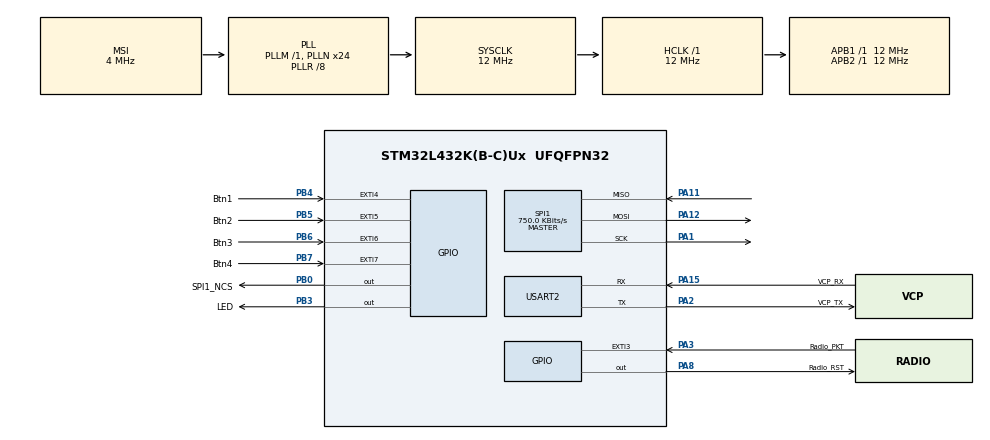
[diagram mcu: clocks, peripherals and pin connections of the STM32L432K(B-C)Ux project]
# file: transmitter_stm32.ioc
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ADC1.Channel-0\#ChannelRegularConversion=ADC_CHANNEL_VREFINT
ADC1.NbrOfConversionFlag=1
ADC1.OffsetNumber-0\#ChannelRegularConversion=ADC_OFFSET_NONE
ADC1.Rank-0\#ChannelRegularConversion=1
ADC1.SamplingTime-0\#ChannelRegularConversion=ADC_SAMPLETIME_640CYCLES_5
ADC1.master=1
CRC.InputDataInversionMode=CRC_INPUTDATA_INVERSION_BYTE
CRC.OutputDataInversionMode=CRC_OUTPUTDATA_INVERSION_ENABLE
Dma.Request0=SPI1_TX
Dma.Request1=SPI1_RX
Dma.SPI1_RX.1.Direction=DMA_PERIPH_TO_MEMORY
Dma.SPI1_RX.1.Instance=DMA1_Channel2
Dma.SPI1_RX.1.MemDataAlignment=DMA_MDATAALIGN_BYTE
Dma.SPI1_RX.1.MemInc=DMA_MINC_ENABLE
Dma.SPI1_RX.1.Mode=DMA_NORMAL
Dma.SPI1_RX.1.PeriphDataAlignment=DMA_PDATAALIGN_BYTE
Dma.SPI1_RX.1.PeriphInc=DMA_PINC_DISABLE
Dma.SPI1_RX.1.Priority=DMA_PRIORITY_LOW
Dma.SPI1_TX.0.Direction=DMA_MEMORY_TO_PERIPH
Dma.SPI1_TX.0.Instance=DMA1_Channel3
Dma.SPI1_TX.0.MemDataAlignment=DMA_MDATAALIGN_BYTE
Dma.SPI1_TX.0.MemInc=DMA_MINC_ENABLE
Dma.SPI1_TX.0.Mode=DMA_NORMAL
Dma.SPI1_TX.0.PeriphDataAlignment=DMA_PDATAALIGN_BYTE
Dma.SPI1_TX.0.PeriphInc=DMA_PINC_DISABLE
Dma.SPI1_TX.0.Priority=DMA_PRIORITY_LOW
Mcu.Family=STM32L4
Mcu.Name=STM32L432K(B-C)Ux
Mcu.Package=UFQFPN32
NVIC.ADC1_IRQn=true\:0\:0\:false\:false\:true\:true\:true
NVIC.DMA1_Channel2_IRQn=true\:0\:0\:false\:false\:true\:false\:true
NVIC.DMA1_Channel3_IRQn=true\:0\:0\:false\:false\:true\:false\:true
NVIC.EXTI3_IRQn=true\:0\:0\:false\:false\:true\:true\:true
NVIC.EXTI4_IRQn=true\:0\:0\:false\:false\:true\:true\:true
NVIC.EXTI9_5_IRQn=true\:0\:0\:false\:false\:true\:true\:true
NVIC.LPTIM1_IRQn=true\:0\:0\:false\:false\:true\:true\:true
NVIC.PriorityGroup=NVIC_PRIORITYGROUP_4
NVIC.SPI1_IRQn=true\:0\:0\:false\:false\:true\:true\:true
NVIC.USART2_IRQn=true\:0\:0\:false\:false\:true\:true\:true
PA0.Mode=SYS_WakeUp0
PA0.Signal=SYS_WKUP1
PA1.Mode=Full_Duplex_Master
PA1.Signal=SPI1_SCK
PA11.Mode=Full_Duplex_Master
PA11.Signal=SPI1_MISO
PA12.Mode=Full_Duplex_Master
PA12.Signal=SPI1_MOSI
PA13\ (JTMS-SWDIO).GPIO_Label=SWDIO
PA13\ (JTMS-SWDIO).Mode=Serial_Wire
PA13\ (JTMS-SWDIO).Signal=SYS_JTMS-SWDIO
PA14\ (JTCK-SWCLK).GPIO_Label=SWCLK
PA14\ (JTCK-SWCLK).Mode=Serial_Wire
PA14\ (JTCK-SWCLK).Signal=SYS_JTCK-SWCLK
PA15\ (JTDI).GPIO_Label=VCP_RX
PA15\ (JTDI).Mode=Asynchronous
PA15\ (JTDI).Signal=USART2_RX
PA2.GPIO_Label=VCP_TX
PA2.Mode=Asynchronous
PA2.Signal=USART2_TX
PA3.GPIO_Label=Radio_PKT
PA3.GPIO_ModeDefaultEXTI=GPIO_MODE_IT_RISING_FALLING
PA3.Signal=GPXTI3
PA8.GPIO_Label=Radio_RST
PA8.GPIO_ModeDefaultOutputPP=GPIO_MODE_OUTPUT_OD
PA8.GPIO_PuPd=GPIO_PULLUP
PA8.GPIO_Speed=GPIO_SPEED_FREQ_LOW
PA8.PinState=GPIO_PIN_RESET
PA8.Signal=GPIO_Output
PB0.GPIO_Label=SPI1_NCS
PB0.GPIO_PuPd=GPIO_PULLUP
PB0.GPIO_Speed=GPIO_SPEED_FREQ_VERY_HIGH
PB0.PinState=GPIO_PIN_SET
PB0.Signal=GPIO_Output
PB3\ (JTDO-TRACESWO).GPIO_Label=LED
PB3\ (JTDO-TRACESWO).Signal=SharedStack_PB3
PB3\ (JTDO-TRACESWO).Stacked=true
PB4\ (NJTRST).GPIO_Label=Btn1
PB4\ (NJTRST).GPIO_ModeDefaultEXTI=GPIO_MODE_IT_RISING_FALLING
PB4\ (NJTRST).GPIO_PuPd=GPIO_PULLDOWN
PB4\ (NJTRST).Signal=GPXTI4
PB5.GPIO_Label=Btn2
PB5.GPIO_ModeDefaultEXTI=GPIO_MODE_IT_RISING_FALLING
PB5.GPIO_PuPd=GPIO_PULLDOWN
PB5.Signal=GPXTI5
PB6.GPIO_Label=Btn3
PB6.GPIO_ModeDefaultEXTI=GPIO_MODE_IT_RISING_FALLING
PB6.GPIO_PuPd=GPIO_PULLDOWN
PB6.Signal=GPXTI6
PB7.GPIO_Label=Btn4
PB7.GPIO_ModeDefaultEXTI=GPIO_MODE_IT_RISING_FALLING
PB7.GPIO_PuPd=GPIO_PULLDOWN
PB7.Signal=GPXTI7
PC14-OSC32_IN\ (PC14).Mode=LSE-External-Oscillator
PC14-OSC32_IN\ (PC14).Signal=RCC_OSC32_IN
PC15-OSC32_OUT\ (PC15).Mode=LSE-External-Oscillator
PC15-OSC32_OUT\ (PC15).Signal=RCC_OSC32_OUT
ProjectManager.HeapSize=0x200
ProjectManager.StackSize=0x400
ProjectManager.TargetToolchain=STM32CubeIDE
RCC.ADCFreq_Value=12000000
RCC.AHBFreq_Value=12000000
RCC.APB1Freq_Value=12000000
RCC.APB1TimFreq_Value=12000000
RCC.APB2Freq_Value=12000000
RCC.APB2TimFreq_Value=12000000
RCC.CortexFreq_Value=12000000
RCC.HCLKFreq_Value=12000000
RCC.HSE_VALUE=8000000
RCC.HSI16_VALUE=16000000
RCC.HSI48_VALUE=48000000
RCC.HSI_VALUE=16000000
RCC.LSE_Drive_Capability=RCC_LSEDRIVE_MEDIUMHIGH
RCC.MSI_VALUE=4000000
RCC.PLLMUL=RCC_PLLMUL_4
RCC.PLLN=24
RCC.PLLQ=RCC_PLLQ_DIV8
RCC.PLLR=RCC_PLLR_DIV8
RCC.PLLSAI1N=24
RCC.PLLSAI1Q=RCC_PLLQ_DIV8
RCC.PLLSAI1R=RCC_PLLR_DIV8
RCC.PWR_Regulator_Voltage_Scale=PWR_REGULATOR_VOLTAGE_SCALE2
RCC.RTCClockSelection=RCC_RTCCLKSOURCE_LSE
RCC.SYSCLKFreq_VALUE=12000000
RCC.SYSCLKSource=RCC_SYSCLKSOURCE_PLLCLK
RCC.USBFreq_Value=12000000
RCC.VCOOutputFreq_Value=96000000
RCC.VDD_VALUE=2.8
RTC.Date=2
RTC.Format=RTC_FORMAT_BIN
RTC.WakeUpClock=RTC_WAKEUPCLOCK_CK_SPRE_16BITS
RTC.Year=1
SH.SharedStack_PB3.0=GPIO_Output
SH.SharedStack_PB3.1=TIM2_CH2
SPI1.BaudRatePrescaler=SPI_BAUDRATEPRESCALER_16
SPI1.CLKPhase=SPI_PHASE_2EDGE
SPI1.CalculateBaudRate=750.0 KBits/s
SPI1.DataSize=SPI_DATASIZE_8BIT
SPI1.Direction=SPI_DIRECTION_2LINES
SPI1.Mode=SPI_MODE_MASTER
SPI1.VirtualType=VM_MASTER
SYS.PVDLevel=PWR_PVDLEVEL_0
USART2.VirtualMode-Asynchronous=VM_ASYNC
VP_ADC1_Vref_Input.Mode=IN-Vrefint
VP_CRC_VS_CRC.Mode=CRC_Activate
VP_LPTIM1_VS_LPTIM_counterModeInternalClock.Mode=Counts__internal_clock_event_00
VP_RCC_LSE.Mode=CRS SYNC Source LSE
VP_RNG_VS_RNG.Mode=RNG_Activate
VP_RTC_VS_RTC_Activate.Mode=RTC_Enabled
VP_RTC_VS_RTC_Calendar.Mode=RTC_Calendar
VP_RTC_VS_RTC_WakeUp_intern.Mode=WakeUp
VP_SYS_V_PVD_IN.Mode=Mode_PVD_Int
board=NUCLEO-L432KC

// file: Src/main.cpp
/* USER CODE BEGIN Header */
/**
  ******************************************************************************
  * @file           : main.c
  * @brief          : Main program body
  ******************************************************************************
  * @attention
  *
  * <h2><center>&copy; Copyright (c) 2019 STMicroelectronics.
  * All rights reserved.</center></h2>
  *
  * This software component is licensed by ST under BSD 3-Clause license,
  * the "License"; You may not use this file except in compliance with the
  * License. You may obtain a copy of the License at:
  *                        opensource.org/licenses/BSD-3-Clause
  *
  ******************************************************************************
  */
/* USER CODE END Header */

#include "main.h"

/* USER CODE BEGIN Includes */
#include "cetaguard.h"
#include "lt8920.h"
#include <string.h>
#include <time.h>
/* USER CODE END Includes */

/* USER CODE BEGIN PTD */
struct status_flags{
	uint32_t btn_intr :1;
	uint32_t spi_intr :1;
	uint32_t got_packet :1;
	uint32_t expecting_rx :1;
	uint32_t waiting_tx :1;
	uint32_t pairing_mode :1;
	uint32_t cold_boot :1;
};
/* USER CODE END PTD */

ADC_HandleTypeDef hadc1;

CRC_HandleTypeDef hcrc;

LPTIM_HandleTypeDef hlptim1;

RNG_HandleTypeDef hrng;

RTC_HandleTypeDef hrtc;

SPI_HandleTypeDef hspi1;
DMA_HandleTypeDef hdma_spi1_tx;
DMA_HandleTypeDef hdma_spi1_rx;

UART_HandleTypeDef huart2;

/* USER CODE BEGIN PV */
volatile struct status_flags status = {0};
uint8_t message_buffer[64] = {0x01, 0x02, 0x03, 0x99, 0x04, 0x03, 0x02, 0x01};
uint8_t recv_buffer[64];
uint8_t last_received;
volatile uint32_t last_error;
volatile uint32_t total_errors;
Cetaguard_transmitter tx;
LT8920 radio(&hspi1);
volatile uint32_t debug_data[64];
volatile uint32_t debug_data_ctr;
/* USER CODE END PV */

void SystemClock_Config(void);
static void MX_GPIO_Init(void);
static void MX_DMA_Init(void);
static void MX_ADC1_Init(void);
static void MX_CRC_Init(void);
static void MX_LPTIM1_Init(void);
static void MX_RNG_Init(void);
static void MX_RTC_Init(void);
static void MX_USART2_UART_Init(void);
static void MX_SPI1_Init(void);
/* USER CODE BEGIN PFP */
void HAL_GPIO_EXTI_Callback(uint16_t GPIO_Pin);
uint8_t measure_battery_voltage();
void set_RTC_timestamp(uint32_t now);
/* USER CODE END PFP */

/* USER CODE BEGIN 0 */
void print_to_serial(const char* stuff){
	HAL_UART_Transmit(&huart2, (uint8_t*)stuff, strlen(stuff), 10);
}

#define SERIAL_PRINTF(...) do { char buffer[128]; snprintf(buffer, 128, __VA_ARGS__); print_to_serial(buffer); } while (0)

class My_interpreter2: public Cetaguard_message_interpreter{
  void button_msg(Cetaguard_msg_contents contents, Cetaguard_index idx){
  }
  void pairing_without_secret_msg(Cetaguard_index idx){
  }
  void pairing_with_secret_msg(Cetaguard_index idx){
  }
};

My_interpreter2 interpreter2;

void benchmark(){
  Cetaguard_status ret;

  Cetaguard_transmitter txTest;
  uint32_t cycles_start, cycles;
  cycles_start = DWT->CYCCNT;
  Cetaguard_receiver rxTest(&interpreter2);
  cycles = DWT->CYCCNT - cycles_start;
  SERIAL_PRINTF("Creating rx: %lu\n", cycles);

  cycles_start = DWT->CYCCNT;
  uint32_t id_out;
  ret = rxTest.add_pending_transmitter(&id_out);
  cycles = DWT->CYCCNT - cycles_start;
  SERIAL_PRINTF("adding pending tx: %lu\n", cycles);
  SERIAL_PRINTF("\t keygen: %lu\n", debug_data[1] - debug_data[0]);
  SERIAL_PRINTF("\t random: %lu\n", debug_data[2] - debug_data[1]);
  SERIAL_PRINTF("\t hash: %lu\n", debug_data[3] - debug_data[2]);
  if (ret != CETAGUARD_OK){
    return;
  }

  cycles_start = DWT->CYCCNT;
  ret = txTest.add_receiver(rxTest.pending[0].pub_key, rxTest.pending[0].pairing_secret);
  if (ret != CETAGUARD_OK){
    return;
  }

  cycles = DWT->CYCCNT - cycles_start;
  SERIAL_PRINTF("Adding rx: %lu\n", cycles);

  uint8_t msg[64];
  size_t size;

  cycles_start = DWT->CYCCNT;
  ret = txTest.prepare_pairing_msg(0, msg, &size);
  cycles = DWT->CYCCNT - cycles_start;
  SERIAL_PRINTF("Prepairing pairing msg: %lu\n", cycles);
  if (ret != CETAGUARD_OK){
    return;
  }

  cycles_start = DWT->CYCCNT;
  ret = rxTest.interpret_message(msg, size);
  cycles = DWT->CYCCNT - cycles_start;
  SERIAL_PRINTF("Interpreting pairing msg: %lu\n", cycles);
  if (ret != CETAGUARD_OK){
    return;
  }

  cycles_start = DWT->CYCCNT;
  ret = txTest.finish_pairing(0);
  cycles = DWT->CYCCNT - cycles_start;
  SERIAL_PRINTF("Finish pairing: %lu\n", cycles);
  if (ret != CETAGUARD_OK){
    return;
  }

  Cetaguard_msg_contents c_in;
  cycles_start = DWT->CYCCNT;
  ret = txTest.prepare_button_msg(0, &c_in, msg, &size);
  cycles = DWT->CYCCNT - cycles_start;
  SERIAL_PRINTF("Preparing button msg: %lu\n", cycles);
  SERIAL_PRINTF("\t prepare: %lu\n", debug_data[1] - debug_data[0]);
  SERIAL_PRINTF("\t hash: %lu\n", debug_data[2] - debug_data[1]);
  SERIAL_PRINTF("\t encrypt: %lu\n", debug_data[3] - debug_data[2]);
  if (ret != CETAGUARD_OK){
    return;
  }

  cycles_start = DWT->CYCCNT;
  ret = rxTest.interpret_message(msg, size);
  cycles = DWT->CYCCNT - cycles_start;
  SERIAL_PRINTF("Interpreting button msg: %lu\n", cycles);
  SERIAL_PRINTF("\t decrypt: %lu\n", debug_data[1] - debug_data[0]);
  if (ret != CETAGUARD_OK){
    return;
  }

}

void stress_test_calc(){
	uint8_t pub1[PUB_KEY_SIZE], pub2[PUB_KEY_SIZE], priv1[PRIV_KEY_SIZE], priv2[PRIV_KEY_SIZE], secret[SECRET_SIZE];
	generate_keys(pub1, priv1);
	generate_keys(pub2, priv2);
	calculate_secret(pub1, priv2, secret);
	hash(priv1, PRIV_KEY_SIZE, recv_buffer);
	for (int i = 0; i < 6; i++){
		encrypt(recv_buffer, recv_buffer, secret);
	}
	for (int i = 0; i < 6; i++){
		decrypt(priv1, priv1, secret);
	}
}

void HAL_GPIO_EXTI_Callback(uint16_t pin){
	if (pin & (Btn1_Pin | Btn2_Pin | Btn3_Pin | Btn4_Pin)){
		status.btn_intr = 1;
	}
	if (pin & Radio_PKT_Pin){
		if (READ_PIN_L(Radio_PKT)){
			if (status.expecting_rx){
				status.got_packet = 1;
			}
		}
		else {
			if (status.waiting_tx){
				status.waiting_tx = 0;
			}
		}
	}
}

void HAL_SPI_TxRxCpltCallback(SPI_HandleTypeDef* hspi){

}

static const int ADC_resolution = 12;
static const uint16_t ADC_max = (1 << 12) - 1;
volatile int errors = 0;

uint8_t measure_battery_voltage(){
	HAL_ADC_Start(&hadc1);
	HAL_StatusTypeDef retval;
	do {
		retval = HAL_ADC_PollForConversion(&hadc1, 10);
	} while (retval != HAL_OK && retval != HAL_TIMEOUT);
	if (retval == HAL_TIMEOUT){
		return 0;
	}
	uint16_t adc_value = HAL_ADC_GetValue(&hadc1);
	float voltage = ((VREFINT_CAL_VREF / 1000.0f) * (*VREFINT_CAL_ADDR)) / adc_value;
	voltage = (voltage - 2.2) * (256/0.8f);
	voltage = voltage < 0 ? 0 : voltage;
	voltage = voltage > 255 ? 255 : voltage;
	uint8_t result = voltage;
	HAL_ADC_Stop(&hadc1);
	return result;
}

void set_RTC_timestamp(time_t now){
	 RTC_TimeTypeDef sTime;
	 RTC_DateTypeDef sDate;

	 struct tm time_tm;
	 time_tm = *(localtime(&now));

	 sTime.Hours = (uint8_t)time_tm.tm_hour;
	 sTime.Minutes = (uint8_t)time_tm.tm_min;
	 sTime.Seconds = (uint8_t)time_tm.tm_sec;
	 if (HAL_RTC_SetTime(&hrtc, &sTime, RTC_FORMAT_BIN) != HAL_OK){
		 Error_Handler();
	 }

	 if (time_tm.tm_wday == 0) { time_tm.tm_wday = 7; } // the chip goes mon tue wed thu fri sat sun
	 sDate.WeekDay = (uint8_t)time_tm.tm_wday;
	 sDate.Month = (uint8_t)time_tm.tm_mon+1; //month 1- This is why date math is frustrating.
	 sDate.Date = (uint8_t)time_tm.tm_mday;
	 sDate.Year = (uint16_t)(time_tm.tm_year+1900-2000); // time.h is years since 1900, chip is years since 2000

	 /*
	 * update the RTC
	 */
	 if (HAL_RTC_SetDate(&hrtc, &sDate, RTC_FORMAT_BIN) != HAL_OK){
		 Error_Handler();
	 }

	 HAL_RTCEx_BKUPWrite(&hrtc,RTC_BKP_DR0,0x32F2); // lock it in with the backup registers
}

void start_radio(){
	WRITE_PIN_L(Radio_RST, 1);
	HAL_Delay(5);
	radio.begin();
	radio.setChannel(0x20);
}

void shutdown_radio(){
	WRITE_PIN_L(Radio_RST, 0);
}

bool send_message_buffer(size_t msg_size){
	status.waiting_tx = 1;
	radio.sendPacket(message_buffer, msg_size);
	uint32_t timeout = HAL_GetTick() + 5;
	while (READ_PIN_L(Radio_PKT)){
		if (HAL_GetTick() > timeout){
			shutdown_radio();
			HAL_Delay(10);
			start_radio();
			break;
		}
	}
	return true;
}

const uint32_t PAIRING_TIMEOUT_MAX = 5000;
uint32_t pairing_wait_timeout = 0;
void try_pairing(){
	status.pairing_mode = 1;
	message_buffer[3] = 0x18;
	send_message_buffer(4);
	status.expecting_rx = 1;
	radio.startListening();
	pairing_wait_timeout = HAL_GetTick() + PAIRING_TIMEOUT_MAX;
}

void stop_pairing(){
	status.expecting_rx = 0;
	status.pairing_mode = 0;
	radio.stopListening();
}

void enter_standby(){
	/* The Following Wakeup sequence is highly recommended prior to each Standby mode entry
	mainly when using more than one wakeup source this is to not miss any wakeup event.
	 - Disable all used wakeup sources,
	 - Clear all related wakeup flags,
	 - Re-enable all used wakeup sources,
	 - Enter the Standby mode.
	*/

	/*  For power consumption's sake, appropriately configure the GPIO corresponding to
	  the wake-up pin, fill up the pull-down control register and set the APC bit. */
	radio.sleep();
	__HAL_RCC_GPIOA_CLK_ENABLE();
	GPIO_InitTypeDef GPIO_InitStructure;
	GPIO_InitStructure.Pin = GPIO_PIN_0;
	GPIO_InitStructure.Mode = GPIO_MODE_INPUT;
	GPIO_InitStructure.Pull = GPIO_PULLDOWN;

	HAL_GPIO_Init(GPIOA, &GPIO_InitStructure);

	HAL_PWREx_EnableGPIOPullDown(PWR_GPIO_A, PWR_GPIO_BIT_0);
	HAL_PWREx_EnableGPIOPullDown(PWR_GPIO_A, PWR_GPIO_BIT_8); //pull the radio reset low to keep it in low-power state
	HAL_PWREx_EnablePullUpPullDownConfig();

	/* Disable used wakeup source: PWR_WAKEUP_PIN1 */
	HAL_PWR_DisableWakeUpPin(PWR_WAKEUP_PIN1);

	/* Clear all related wakeup flags */
	__HAL_PWR_CLEAR_FLAG(PWR_FLAG_WU);

	/* Enable wakeup pin WKUP1 */
	HAL_PWR_EnableWakeUpPin(PWR_WAKEUP_PIN1_HIGH);

	/* Enter the Standby mode */
	HAL_PWR_EnterSTANDBYMode();
}

bool compareCRC(uint8_t* buffer, size_t length, uint32_t toCompare){
	uint32_t result = HAL_CRC_Calculate(&hcrc, (uint32_t*) buffer, length);
	return result == toCompare;
}

/* USER CODE END 0 */

int main(void)
{
  /* USER CODE BEGIN 1 */
  /*ENABLE CYCLE COUNTING:*/ DWT->CTRL |= DWT_CTRL_CYCCNTENA_Msk;

  /* USER CODE END 1 */

  /* MCU Configuration--------------------------------------------------------*/

  /* Reset of all peripherals, Initializes the Flash interface and the Systick. */
  HAL_Init();

  /* Configure the system clock */
  SystemClock_Config();

  /* USER CODE BEGIN SysInit */
  if (__HAL_PWR_GET_FLAG(PWR_FLAG_SB) != RESET){
	status.cold_boot = 0;
	/* Clear Standby flag */
	__HAL_PWR_CLEAR_FLAG(PWR_FLAG_SB);
	/* Blink LED3 to indicate that the system was resumed from Standby mode */
	WRITE_PIN_L(LED, 1);
	HAL_Delay(200);
	WRITE_PIN_L(LED, 0);
	HAL_Delay(200);
	HAL_PWREx_DisableGPIOPullDown(PWR_GPIO_A, PWR_GPIO_BIT_8);
  }
  else {
	  status.cold_boot = 1;
  }
  /* USER CODE END SysInit */

  /* Initialize all configured peripherals */
  MX_GPIO_Init();
  MX_DMA_Init();
  MX_ADC1_Init();
  MX_CRC_Init();
  MX_LPTIM1_Init();
  MX_RNG_Init();
  MX_RTC_Init();
  MX_USART2_UART_Init();
  MX_SPI1_Init();
  /* USER CODE BEGIN 2 */
  WRITE_PIN_L(LED, 1);
  benchmark();
  /*
  //benchmark();
  while ((READ_PIN_L(Btn1) | READ_PIN_L(Btn2)) != (Btn2_Pin | Btn1_Pin)){
	  stress_test_calc();

  }
  WRITE_PIN_L(LED, 0);
  */
  for (int i = 8; i < 64; i++){
	  message_buffer[i] = i;
  }

  int last_buttons_pressed = 0;
  const int PAIRING_MAX_RETRIES = 3;
  int pairing_retries = PAIRING_MAX_RETRIES;
  WRITE_PIN_L(Radio_RST, 1);
  HAL_Delay(10);
  start_radio();
  /*
  HAL_Delay(1000);
  while ((READ_PIN_L(Btn1) | READ_PIN_L(Btn3)) != (Btn3_Pin | Btn1_Pin)){
	  radio.sendPacket(recv_buffer, 56);
  }
  */
  uint32_t time_test = get_time();
  radio.sendPacket((uint8_t*)&time_test, 4);
  WRITE_PIN_L(LED, 1);
  HAL_Delay(1000);
  WRITE_PIN_L(LED, 0);

  /* USER CODE END 2 */

  /* Infinite loop */
  /* USER CODE BEGIN WHILE */
  while (1)
  {
	HAL_PWR_EnterSLEEPMode(PWR_MAINREGULATOR_ON, PWR_SLEEPENTRY_WFE);
	WRITE_PIN_L(LED, 1);
	if (status.btn_intr){
		HAL_Delay(2); //2ms debounce
		status.btn_intr = 0;
		int buttons_pressed = 0;
		buttons_pressed |= READ_PIN_L(Btn1);
		buttons_pressed |= READ_PIN_L(Btn2);
		buttons_pressed |= READ_PIN_L(Btn3);
		buttons_pressed |= READ_PIN_L(Btn4);

		switch (buttons_pressed != last_buttons_pressed ? buttons_pressed : 0){
		case Btn4_Pin: {
			uint32_t time_test = get_time();
			radio.sendPacket((uint8_t*)&time_test, 4);
		}
		break;
		case Btn4_Pin | Btn1_Pin:{
			pairing_retries = PAIRING_MAX_RETRIES;
			try_pairing();
		}
		break;
		case Btn4_Pin | Btn2_Pin:{
			stop_pairing();
		}
		break;
		case Btn4_Pin | Btn3_Pin:{
			HAL_Delay(1000);
			enter_standby();
		}
		break;
		case Btn1_Pin:
		case Btn2_Pin:
		case Btn3_Pin:{
		  if (!status.pairing_mode && !tx.receivers.empty()){
			  Cetaguard_msg_contents contents;
			  contents.battery = measure_battery_voltage();
			  contents.buttons = buttons_pressed;
			  size_t size_out;
			  Cetaguard_status r = tx.prepare_button_msg(0, &contents, message_buffer, &size_out);
			  if (r != CETAGUARD_OK){
				  last_error = r;
				  Error_Handler();
			  }
			  else {
				  send_message_buffer(size_out);
			  }
		  }
		  else if (status.pairing_mode && !tx.pending.empty()){
			  if (buttons_pressed == Btn1_Pin){
				  size_t size_out;
				  Cetaguard_status r = tx.prepare_pairing_msg(0, message_buffer, &size_out);
				  if (r != CETAGUARD_OK){
					  last_error = r;
					  Error_Handler();
				  }
				  else {
					  send_message_buffer(size_out);
				  }
			  }
			  else if (buttons_pressed == Btn2_Pin){
				  tx.finish_pairing(0);
			  }
		  }
		}
		break;
		}
		last_buttons_pressed = buttons_pressed;
		status.btn_intr = 0;
	}
	if (status.expecting_rx && HAL_GetTick() > pairing_wait_timeout){
		status.expecting_rx = 0;
		radio.stopListening();
	}
	if (status.got_packet){
		status.got_packet = 0;
		int pkt_length = radio.read(recv_buffer, 64);
		const int expected_length = PUB_KEY_SIZE + 8;
		if (pkt_length >= expected_length &&
			recv_buffer[0] == 0x01 &&
			recv_buffer[1] == 0x02 &&
			recv_buffer[2] == 0x03 &&
			recv_buffer[3] == 0x18 &&
			compareCRC(recv_buffer + 8, PUB_KEY_SIZE, ((uint32_t*)recv_buffer)[1]) &&
			tx.add_receiver(recv_buffer + 8) == CETAGUARD_OK){
			status.expecting_rx = 0;
		}
		else {
			if (pairing_retries > 0){
				pairing_retries--;
				HAL_Delay(100);
				try_pairing();
			}
			else {
				stop_pairing();
			}
		}
		char buf[4];
		for (int i = 0; i < pkt_length; i++){
			snprintf(buf,4," %02x", recv_buffer[i]);
			HAL_UART_Transmit(&huart2, (uint8_t*)buf, 3, 10);
		}
		snprintf(buf,4,"\r\n");
		HAL_UART_Transmit(&huart2, (uint8_t*)buf, 2, 10);
	}

	WRITE_PIN_L(LED, 0);
    /* USER CODE END WHILE */

  }
}

void SystemClock_Config(void)
{
  RCC_OscInitTypeDef RCC_OscInitStruct = {0};
  RCC_ClkInitTypeDef RCC_ClkInitStruct = {0};
  RCC_PeriphCLKInitTypeDef PeriphClkInit = {0};
  RCC_CRSInitTypeDef RCC_CRSInitStruct = {0};

  /** Configure LSE Drive Capability
  */
  HAL_PWR_EnableBkUpAccess();
  __HAL_RCC_LSEDRIVE_CONFIG(RCC_LSEDRIVE_MEDIUMHIGH);
  /** Initializes the CPU, AHB and APB busses clocks
  */
  RCC_OscInitStruct.OscillatorType = RCC_OSCILLATORTYPE_LSE|RCC_OSCILLATORTYPE_MSI;
  RCC_OscInitStruct.LSEState = RCC_LSE_ON;
  RCC_OscInitStruct.MSIState = RCC_MSI_ON;
  RCC_OscInitStruct.MSICalibrationValue = 0;
  RCC_OscInitStruct.MSIClockRange = RCC_MSIRANGE_6;
  RCC_OscInitStruct.PLL.PLLState = RCC_PLL_ON;
  RCC_OscInitStruct.PLL.PLLSource = RCC_PLLSOURCE_MSI;
  RCC_OscInitStruct.PLL.PLLM = 1;
  RCC_OscInitStruct.PLL.PLLN = 24;
  RCC_OscInitStruct.PLL.PLLP = RCC_PLLP_DIV7;
  RCC_OscInitStruct.PLL.PLLQ = RCC_PLLQ_DIV8;
  RCC_OscInitStruct.PLL.PLLR = RCC_PLLR_DIV8;
  if (HAL_RCC_OscConfig(&RCC_OscInitStruct) != HAL_OK)
  {
    Error_Handler();
  }
  /** Initializes the CPU, AHB and APB busses clocks
  */
  RCC_ClkInitStruct.ClockType = RCC_CLOCKTYPE_HCLK|RCC_CLOCKTYPE_SYSCLK
                              |RCC_CLOCKTYPE_PCLK1|RCC_CLOCKTYPE_PCLK2;
  RCC_ClkInitStruct.SYSCLKSource = RCC_SYSCLKSOURCE_PLLCLK;
  RCC_ClkInitStruct.AHBCLKDivider = RCC_SYSCLK_DIV1;
  RCC_ClkInitStruct.APB1CLKDivider = RCC_HCLK_DIV1;
  RCC_ClkInitStruct.APB2CLKDivider = RCC_HCLK_DIV1;

  if (HAL_RCC_ClockConfig(&RCC_ClkInitStruct, FLASH_LATENCY_1) != HAL_OK)
  {
    Error_Handler();
  }
  PeriphClkInit.PeriphClockSelection = RCC_PERIPHCLK_RTC|RCC_PERIPHCLK_USART2
                              |RCC_PERIPHCLK_LPTIM1|RCC_PERIPHCLK_RNG
                              |RCC_PERIPHCLK_ADC;
  PeriphClkInit.Usart2ClockSelection = RCC_USART2CLKSOURCE_PCLK1;
  PeriphClkInit.Lptim1ClockSelection = RCC_LPTIM1CLKSOURCE_PCLK;
  PeriphClkInit.AdcClockSelection = RCC_ADCCLKSOURCE_PLLSAI1;
  PeriphClkInit.RTCClockSelection = RCC_RTCCLKSOURCE_LSE;
  PeriphClkInit.RngClockSelection = RCC_RNGCLKSOURCE_PLLSAI1;
  PeriphClkInit.PLLSAI1.PLLSAI1Source = RCC_PLLSOURCE_MSI;
  PeriphClkInit.PLLSAI1.PLLSAI1M = 1;
  PeriphClkInit.PLLSAI1.PLLSAI1N = 24;
  PeriphClkInit.PLLSAI1.PLLSAI1P = RCC_PLLP_DIV7;
  PeriphClkInit.PLLSAI1.PLLSAI1Q = RCC_PLLQ_DIV8;
  PeriphClkInit.PLLSAI1.PLLSAI1R = RCC_PLLR_DIV8;
  PeriphClkInit.PLLSAI1.PLLSAI1ClockOut = RCC_PLLSAI1_48M2CLK|RCC_PLLSAI1_ADC1CLK;
  if (HAL_RCCEx_PeriphCLKConfig(&PeriphClkInit) != HAL_OK)
  {
    Error_Handler();
  }
  /** Configure the main internal regulator output voltage
  */
  if (HAL_PWREx_ControlVoltageScaling(PWR_REGULATOR_VOLTAGE_SCALE2) != HAL_OK)
  {
    Error_Handler();
  }
  /** Enable MSI Auto calibration
  */
  HAL_RCCEx_EnableMSIPLLMode();
  /** Enable the SYSCFG APB clock
  */
  __HAL_RCC_CRS_CLK_ENABLE();
  /** Configures CRS
  */
  RCC_CRSInitStruct.Prescaler = RCC_CRS_SYNC_DIV1;
  RCC_CRSInitStruct.Source = RCC_CRS_SYNC_SOURCE_LSE;
  RCC_CRSInitStruct.Polarity = RCC_CRS_SYNC_POLARITY_RISING;
  RCC_CRSInitStruct.ReloadValue = __HAL_RCC_CRS_RELOADVALUE_CALCULATE(48000000,32768);
  RCC_CRSInitStruct.ErrorLimitValue = 34;
  RCC_CRSInitStruct.HSI48CalibrationValue = 32;

  HAL_RCCEx_CRSConfig(&RCC_CRSInitStruct);
}

static void MX_ADC1_Init(void)
{

  ADC_ChannelConfTypeDef sConfig = {0};

  /** Common config
  */
  hadc1.Instance = ADC1;
  hadc1.Init.ClockPrescaler = ADC_CLOCK_ASYNC_DIV1;
  hadc1.Init.Resolution = ADC_RESOLUTION_12B;
  hadc1.Init.DataAlign = ADC_DATAALIGN_RIGHT;
  hadc1.Init.ScanConvMode = ADC_SCAN_DISABLE;
  hadc1.Init.EOCSelection = ADC_EOC_SINGLE_CONV;
  hadc1.Init.LowPowerAutoWait = DISABLE;
  hadc1.Init.ContinuousConvMode = DISABLE;
  hadc1.Init.NbrOfConversion = 1;
  hadc1.Init.DiscontinuousConvMode = DISABLE;
  hadc1.Init.ExternalTrigConv = ADC_SOFTWARE_START;
  hadc1.Init.ExternalTrigConvEdge = ADC_EXTERNALTRIGCONVEDGE_NONE;
  hadc1.Init.DMAContinuousRequests = DISABLE;
  hadc1.Init.Overrun = ADC_OVR_DATA_PRESERVED;
  hadc1.Init.OversamplingMode = DISABLE;
  if (HAL_ADC_Init(&hadc1) != HAL_OK)
  {
    Error_Handler();
  }
  /** Configure Regular Channel
  */
  sConfig.Channel = ADC_CHANNEL_VREFINT;
  sConfig.Rank = ADC_REGULAR_RANK_1;
  sConfig.SamplingTime = ADC_SAMPLETIME_640CYCLES_5;
  sConfig.SingleDiff = ADC_SINGLE_ENDED;
  sConfig.OffsetNumber = ADC_OFFSET_NONE;
  sConfig.Offset = 0;
  if (HAL_ADC_ConfigChannel(&hadc1, &sConfig) != HAL_OK)
  {
    Error_Handler();
  }

}

static void MX_CRC_Init(void)
{

  hcrc.Instance = CRC;
  hcrc.Init.DefaultPolynomialUse = DEFAULT_POLYNOMIAL_ENABLE;
  hcrc.Init.DefaultInitValueUse = DEFAULT_INIT_VALUE_ENABLE;
  hcrc.Init.InputDataInversionMode = CRC_INPUTDATA_INVERSION_BYTE;
  hcrc.Init.OutputDataInversionMode = CRC_OUTPUTDATA_INVERSION_ENABLE;
  hcrc.InputDataFormat = CRC_INPUTDATA_FORMAT_BYTES;
  if (HAL_CRC_Init(&hcrc) != HAL_OK)
  {
    Error_Handler();
  }

}

static void MX_LPTIM1_Init(void)
{

  hlptim1.Instance = LPTIM1;
  hlptim1.Init.Clock.Source = LPTIM_CLOCKSOURCE_APBCLOCK_LPOSC;
  hlptim1.Init.Clock.Prescaler = LPTIM_PRESCALER_DIV1;
  hlptim1.Init.Trigger.Source = LPTIM_TRIGSOURCE_SOFTWARE;
  hlptim1.Init.OutputPolarity = LPTIM_OUTPUTPOLARITY_HIGH;
  hlptim1.Init.UpdateMode = LPTIM_UPDATE_IMMEDIATE;
  hlptim1.Init.CounterSource = LPTIM_COUNTERSOURCE_INTERNAL;
  hlptim1.Init.Input1Source = LPTIM_INPUT1SOURCE_GPIO;
  hlptim1.Init.Input2Source = LPTIM_INPUT2SOURCE_GPIO;
  if (HAL_LPTIM_Init(&hlptim1) != HAL_OK)
  {
    Error_Handler();
  }

}

static void MX_RNG_Init(void)
{

  hrng.Instance = RNG;
  if (HAL_RNG_Init(&hrng) != HAL_OK)
  {
    Error_Handler();
  }

}

static void MX_RTC_Init(void)
{

  RTC_TimeTypeDef sTime = {0};
  RTC_DateTypeDef sDate = {0};

  /** Initialize RTC Only
  */
  hrtc.Instance = RTC;
  hrtc.Init.HourFormat = RTC_HOURFORMAT_24;
  hrtc.Init.AsynchPrediv = 127;
  hrtc.Init.SynchPrediv = 255;
  hrtc.Init.OutPut = RTC_OUTPUT_DISABLE;
  hrtc.Init.OutPutRemap = RTC_OUTPUT_REMAP_NONE;
  hrtc.Init.OutPutPolarity = RTC_OUTPUT_POLARITY_HIGH;
  hrtc.Init.OutPutType = RTC_OUTPUT_TYPE_OPENDRAIN;
  if (HAL_RTC_Init(&hrtc) != HAL_OK)
  {
    Error_Handler();
  }

  /* USER CODE BEGIN Check_RTC_BKUP */
  if (status.cold_boot){
  /* USER CODE END Check_RTC_BKUP */

  /** Initialize RTC and set the Time and Date
  */
  sTime.Hours = 0;
  sTime.Minutes = 0;
  sTime.Seconds = 0;
  sTime.DayLightSaving = RTC_DAYLIGHTSAVING_NONE;
  sTime.StoreOperation = RTC_STOREOPERATION_RESET;
  if (HAL_RTC_SetTime(&hrtc, &sTime, RTC_FORMAT_BIN) != HAL_OK)
  {
    Error_Handler();
  }
  sDate.WeekDay = RTC_WEEKDAY_MONDAY;
  sDate.Month = RTC_MONTH_JANUARY;
  sDate.Date = 2;
  sDate.Year = 1;

  if (HAL_RTC_SetDate(&hrtc, &sDate, RTC_FORMAT_BIN) != HAL_OK)
  {
    Error_Handler();
  }
  /** Enable the WakeUp
  */
  if (HAL_RTCEx_SetWakeUpTimer(&hrtc, 0, RTC_WAKEUPCLOCK_CK_SPRE_16BITS) != HAL_OK)
  {
    Error_Handler();
  }
  }

}

static void MX_SPI1_Init(void)
{

  /* SPI1 parameter configuration*/
  hspi1.Instance = SPI1;
  hspi1.Init.Mode = SPI_MODE_MASTER;
  hspi1.Init.Direction = SPI_DIRECTION_2LINES;
  hspi1.Init.DataSize = SPI_DATASIZE_8BIT;
  hspi1.Init.CLKPolarity = SPI_POLARITY_LOW;
  hspi1.Init.CLKPhase = SPI_PHASE_2EDGE;
  hspi1.Init.NSS = SPI_NSS_SOFT;
  hspi1.Init.BaudRatePrescaler = SPI_BAUDRATEPRESCALER_16;
  hspi1.Init.FirstBit = SPI_FIRSTBIT_MSB;
  hspi1.Init.TIMode = SPI_TIMODE_DISABLE;
  hspi1.Init.CRCCalculation = SPI_CRCCALCULATION_DISABLE;
  hspi1.Init.CRCPolynomial = 7;
  hspi1.Init.CRCLength = SPI_CRC_LENGTH_DATASIZE;
  hspi1.Init.NSSPMode = SPI_NSS_PULSE_DISABLE;
  if (HAL_SPI_Init(&hspi1) != HAL_OK)
  {
    Error_Handler();
  }

}

static void MX_USART2_UART_Init(void)
{

  huart2.Instance = USART2;
  huart2.Init.BaudRate = 115200;
  huart2.Init.WordLength = UART_WORDLENGTH_8B;
  huart2.Init.StopBits = UART_STOPBITS_1;
  huart2.Init.Parity = UART_PARITY_NONE;
  huart2.Init.Mode = UART_MODE_TX_RX;
  huart2.Init.HwFlowCtl = UART_HWCONTROL_NONE;
  huart2.Init.OverSampling = UART_OVERSAMPLING_16;
  huart2.Init.OneBitSampling = UART_ONE_BIT_SAMPLE_DISABLE;
  huart2.AdvancedInit.AdvFeatureInit = UART_ADVFEATURE_NO_INIT;
  if (HAL_UART_Init(&huart2) != HAL_OK)
  {
    Error_Handler();
  }

}

static void MX_DMA_Init(void)
{
  /* DMA controller clock enable */
  __HAL_RCC_DMA1_CLK_ENABLE();

  /* DMA interrupt init */
  /* DMA1_Channel2_IRQn interrupt configuration */
  HAL_NVIC_SetPriority(DMA1_Channel2_IRQn, 0, 0);
  HAL_NVIC_EnableIRQ(DMA1_Channel2_IRQn);
  /* DMA1_Channel3_IRQn interrupt configuration */
  HAL_NVIC_SetPriority(DMA1_Channel3_IRQn, 0, 0);
  HAL_NVIC_EnableIRQ(DMA1_Channel3_IRQn);

}

static void MX_GPIO_Init(void)
{
  GPIO_InitTypeDef GPIO_InitStruct = {0};

  /* GPIO Ports Clock Enable */
  __HAL_RCC_GPIOC_CLK_ENABLE();
  __HAL_RCC_GPIOA_CLK_ENABLE();
  __HAL_RCC_GPIOB_CLK_ENABLE();

  /*Configure GPIO pin Output Level */
  HAL_GPIO_WritePin(SPI1_NCS_GPIO_Port, SPI1_NCS_Pin, GPIO_PIN_SET);

  /*Configure GPIO pin Output Level */
  HAL_GPIO_WritePin(Radio_RST_GPIO_Port, Radio_RST_Pin, GPIO_PIN_RESET);

  /*Configure GPIO pin Output Level */
  HAL_GPIO_WritePin(LED_GPIO_Port, LED_Pin, GPIO_PIN_RESET);

  /*Configure GPIO pin : Radio_PKT_Pin */
  GPIO_InitStruct.Pin = Radio_PKT_Pin;
  GPIO_InitStruct.Mode = GPIO_MODE_IT_RISING_FALLING;
  GPIO_InitStruct.Pull = GPIO_NOPULL;
  HAL_GPIO_Init(Radio_PKT_GPIO_Port, &GPIO_InitStruct);

  /*Configure GPIO pin : SPI1_NCS_Pin */
  GPIO_InitStruct.Pin = SPI1_NCS_Pin;
  GPIO_InitStruct.Mode = GPIO_MODE_OUTPUT_PP;
  GPIO_InitStruct.Pull = GPIO_PULLUP;
  GPIO_InitStruct.Speed = GPIO_SPEED_FREQ_VERY_HIGH;
  HAL_GPIO_Init(SPI1_NCS_GPIO_Port, &GPIO_InitStruct);

  /*Configure GPIO pin : Radio_RST_Pin */
  GPIO_InitStruct.Pin = Radio_RST_Pin;
  GPIO_InitStruct.Mode = GPIO_MODE_OUTPUT_OD;
  GPIO_InitStruct.Pull = GPIO_PULLUP;
  GPIO_InitStruct.Speed = GPIO_SPEED_FREQ_LOW;
  HAL_GPIO_Init(Radio_RST_GPIO_Port, &GPIO_InitStruct);

  /*Configure GPIO pin : LED_Pin */
  GPIO_InitStruct.Pin = LED_Pin;
  GPIO_InitStruct.Mode = GPIO_MODE_OUTPUT_PP;
  GPIO_InitStruct.Pull = GPIO_NOPULL;
  GPIO_InitStruct.Speed = GPIO_SPEED_FREQ_LOW;
  HAL_GPIO_Init(LED_GPIO_Port, &GPIO_InitStruct);

  /*Configure GPIO pins : Btn1_Pin Btn2_Pin Btn3_Pin Btn4_Pin */
  GPIO_InitStruct.Pin = Btn1_Pin|Btn2_Pin|Btn3_Pin|Btn4_Pin;
  GPIO_InitStruct.Mode = GPIO_MODE_IT_RISING_FALLING;
  GPIO_InitStruct.Pull = GPIO_PULLDOWN;
  HAL_GPIO_Init(GPIOB, &GPIO_InitStruct);

  /* EXTI interrupt init*/
  HAL_NVIC_SetPriority(EXTI3_IRQn, 0, 0);
  HAL_NVIC_EnableIRQ(EXTI3_IRQn);

  HAL_NVIC_SetPriority(EXTI4_IRQn, 0, 0);
  HAL_NVIC_EnableIRQ(EXTI4_IRQn);

  HAL_NVIC_SetPriority(EXTI9_5_IRQn, 0, 0);
  HAL_NVIC_EnableIRQ(EXTI9_5_IRQn);

}

void Error_Handler(void)
{
  /* USER CODE BEGIN Error_Handler_Debug */
  /* User can add his own implementation to report the HAL error return state */
	total_errors++;
  /* USER CODE END Error_Handler_Debug */
}

/************************ (C) COPYRIGHT STMicroelectronics *****END OF FILE****/
